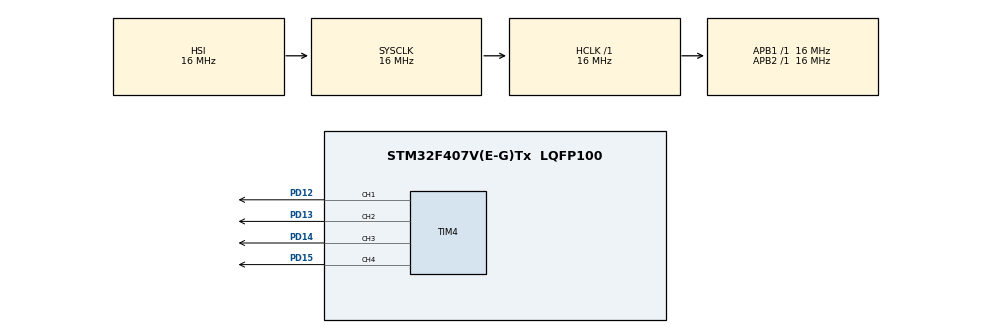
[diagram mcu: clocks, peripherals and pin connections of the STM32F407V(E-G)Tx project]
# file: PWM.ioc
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Mcu.Family=STM32F4
Mcu.Name=STM32F407V(E-G)Tx
Mcu.Package=LQFP100
NVIC.PriorityGroup=NVIC_PRIORITYGROUP_4
NVIC.TIM4_IRQn=true\:0\:0\:false\:false\:true\:true\:true\:true
PA13.Mode=Serial_Wire
PA13.Signal=SYS_JTMS-SWDIO
PA14.Mode=Serial_Wire
PA14.Signal=SYS_JTCK-SWCLK
PD12.GPIO_Speed=GPIO_SPEED_FREQ_HIGH
PD12.Signal=S_TIM4_CH1
PD13.GPIO_Speed=GPIO_SPEED_FREQ_HIGH
PD13.Signal=S_TIM4_CH2
PD14.GPIO_Speed=GPIO_SPEED_FREQ_HIGH
PD14.Signal=S_TIM4_CH3
PD15.GPIO_Speed=GPIO_SPEED_FREQ_HIGH
PD15.Signal=S_TIM4_CH4
PH0-OSC_IN.Mode=HSE-External-Oscillator
PH0-OSC_IN.Signal=RCC_OSC_IN
PH1-OSC_OUT.Mode=HSE-External-Oscillator
PH1-OSC_OUT.Signal=RCC_OSC_OUT
ProjectManager.HeapSize=0x200
ProjectManager.StackSize=0x400
ProjectManager.TargetToolchain=STM32CubeIDE
RCC.AHBFreq_Value=16000000
RCC.APB1Freq_Value=16000000
RCC.APB2Freq_Value=16000000
RCC.CortexFreq_Value=16000000
RCC.HSE_VALUE=25000000
RCC.HSI_VALUE=16000000
RCC.LSE_VALUE=32768
RCC.SYSCLKFreq_VALUE=16000000
RCC.VCOOutputFreq_Value=192000000
SH.S_TIM4_CH1.0=TIM4_CH1,PWM Generation1 CH1
SH.S_TIM4_CH2.0=TIM4_CH2,PWM Generation2 CH2
SH.S_TIM4_CH3.0=TIM4_CH3,PWM Generation3 CH3
SH.S_TIM4_CH4.0=TIM4_CH4,PWM Generation4 CH4
TIM4.Channel-PWM\ Generation1\ CH1=TIM_CHANNEL_1
TIM4.Channel-PWM\ Generation2\ CH2=TIM_CHANNEL_2
TIM4.Channel-PWM\ Generation3\ CH3=TIM_CHANNEL_3
TIM4.Channel-PWM\ Generation4\ CH4=TIM_CHANNEL_4
VP_TIM4_VS_ClockSourceINT.Mode=Internal
board=custom

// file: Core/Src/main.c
/* USER CODE BEGIN Header */
/**
  ******************************************************************************
  * @file           : main.c
  * @brief          : Main program body
  ******************************************************************************
  * @attention
  *
  * Copyright (c) 2024 STMicroelectronics.
  * All rights reserved.
  *
  * This software is licensed under terms that can be found in the LICENSE file
  * in the root directory of this software component.
  * If no LICENSE file comes with this software, it is provided AS-IS.
  *
  ******************************************************************************
  */
/* USER CODE END Header */
#include "main.h"

TIM_HandleTypeDef htim4;

void SystemClock_Config(void);
static void MX_GPIO_Init(void);
static void MX_TIM4_Init(void);

int main(void)
{
  /* USER CODE BEGIN 1 */
	uint32_t i, d;
  /* USER CODE END 1 */

  /* MCU Configuration--------------------------------------------------------*/

  /* Reset of all peripherals, Initializes the Flash interface and the Systick. */
  HAL_Init();

  /* Configure the system clock */
  SystemClock_Config();

  /* Initialize all configured peripherals */
  MX_GPIO_Init();
  MX_TIM4_Init();
  /* USER CODE BEGIN 2 */
  HAL_TIM_PWM_Start(&htim4, TIM_CHANNEL_1);
  HAL_TIM_PWM_Start(&htim4, TIM_CHANNEL_2);
  HAL_TIM_PWM_Start(&htim4, TIM_CHANNEL_3);
  HAL_TIM_PWM_Start(&htim4, TIM_CHANNEL_4);
  /* USER CODE END 2 */

  /* Infinite loop */
  /* USER CODE BEGIN WHILE */
  while (1)
  {
	  for(i = 0; i < 524288; i++) {
		  if( i < 65535){
			  TIM4->CCR1 = i;
		  } else if ((i > 65535)&&(i < 131072)) {
			  TIM4->CCR2 = 131071 - i;
		  } else if ((i > 131071)&&(i<196608)) {
			  TIM4->CCR2 = i - 131072;
		  } else if((i > 196607)&&(i < 262164)) {
			  TIM4->CCR2 = 262164 - i;
		  } else if((i>262163)&&(i<327680)) {
			  TIM4->CCR3= i - 262164;
		  } else if ((i>327679)&&(i<393216)) {
			  TIM4->CCR3= 393216 - i;
		  } else if((i>393216)&&(i<458752)) {
			  TIM4->CCR4= i - 393216;
		  } else {
			  TIM4->CCR4= 524288 - i;
		  }
		  for(d = 0; d < 300; d++) {

		  }
	  }
    /* USER CODE END WHILE */

  }
}

void SystemClock_Config(void)
{
  RCC_OscInitTypeDef RCC_OscInitStruct = {0};
  RCC_ClkInitTypeDef RCC_ClkInitStruct = {0};

  /** Configure the main internal regulator output voltage
  */
  __HAL_RCC_PWR_CLK_ENABLE();
  __HAL_PWR_VOLTAGESCALING_CONFIG(PWR_REGULATOR_VOLTAGE_SCALE1);

  /** Initializes the RCC Oscillators according to the specified parameters
  * in the RCC_OscInitTypeDef structure.
  */
  RCC_OscInitStruct.OscillatorType = RCC_OSCILLATORTYPE_HSI;
  RCC_OscInitStruct.HSIState = RCC_HSI_ON;
  RCC_OscInitStruct.HSICalibrationValue = RCC_HSICALIBRATION_DEFAULT;
  RCC_OscInitStruct.PLL.PLLState = RCC_PLL_NONE;
  if (HAL_RCC_OscConfig(&RCC_OscInitStruct) != HAL_OK)
  {
    Error_Handler();
  }

  /** Initializes the CPU, AHB and APB buses clocks
  */
  RCC_ClkInitStruct.ClockType = RCC_CLOCKTYPE_HCLK|RCC_CLOCKTYPE_SYSCLK
                              |RCC_CLOCKTYPE_PCLK1|RCC_CLOCKTYPE_PCLK2;
  RCC_ClkInitStruct.SYSCLKSource = RCC_SYSCLKSOURCE_HSI;
  RCC_ClkInitStruct.AHBCLKDivider = RCC_SYSCLK_DIV1;
  RCC_ClkInitStruct.APB1CLKDivider = RCC_HCLK_DIV1;
  RCC_ClkInitStruct.APB2CLKDivider = RCC_HCLK_DIV1;

  if (HAL_RCC_ClockConfig(&RCC_ClkInitStruct, FLASH_LATENCY_0) != HAL_OK)
  {
    Error_Handler();
  }
}

static void MX_TIM4_Init(void)
{

  TIM_ClockConfigTypeDef sClockSourceConfig = {0};
  TIM_MasterConfigTypeDef sMasterConfig = {0};
  TIM_OC_InitTypeDef sConfigOC = {0};

  htim4.Instance = TIM4;
  htim4.Init.Prescaler = 0;
  htim4.Init.CounterMode = TIM_COUNTERMODE_UP;
  htim4.Init.Period = 65535;
  htim4.Init.ClockDivision = TIM_CLOCKDIVISION_DIV1;
  htim4.Init.AutoReloadPreload = TIM_AUTORELOAD_PRELOAD_DISABLE;
  if (HAL_TIM_Base_Init(&htim4) != HAL_OK)
  {
    Error_Handler();
  }
  sClockSourceConfig.ClockSource = TIM_CLOCKSOURCE_INTERNAL;
  if (HAL_TIM_ConfigClockSource(&htim4, &sClockSourceConfig) != HAL_OK)
  {
    Error_Handler();
  }
  if (HAL_TIM_PWM_Init(&htim4) != HAL_OK)
  {
    Error_Handler();
  }
  sMasterConfig.MasterOutputTrigger = TIM_TRGO_RESET;
  sMasterConfig.MasterSlaveMode = TIM_MASTERSLAVEMODE_DISABLE;
  if (HAL_TIMEx_MasterConfigSynchronization(&htim4, &sMasterConfig) != HAL_OK)
  {
    Error_Handler();
  }
  sConfigOC.OCMode = TIM_OCMODE_PWM1;
  sConfigOC.Pulse = 0;
  sConfigOC.OCPolarity = TIM_OCPOLARITY_HIGH;
  sConfigOC.OCFastMode = TIM_OCFAST_DISABLE;
  if (HAL_TIM_PWM_ConfigChannel(&htim4, &sConfigOC, TIM_CHANNEL_1) != HAL_OK)
  {
    Error_Handler();
  }
  if (HAL_TIM_PWM_ConfigChannel(&htim4, &sConfigOC, TIM_CHANNEL_2) != HAL_OK)
  {
    Error_Handler();
  }
  if (HAL_TIM_PWM_ConfigChannel(&htim4, &sConfigOC, TIM_CHANNEL_3) != HAL_OK)
  {
    Error_Handler();
  }
  if (HAL_TIM_PWM_ConfigChannel(&htim4, &sConfigOC, TIM_CHANNEL_4) != HAL_OK)
  {
    Error_Handler();
  }
  HAL_TIM_MspPostInit(&htim4);

}

static void MX_GPIO_Init(void)
{

  /* GPIO Ports Clock Enable */
  __HAL_RCC_GPIOH_CLK_ENABLE();
  __HAL_RCC_GPIOD_CLK_ENABLE();
  __HAL_RCC_GPIOA_CLK_ENABLE();

}

void Error_Handler(void)
{
  __disable_irq();
  while (1)
  {
  }
}
